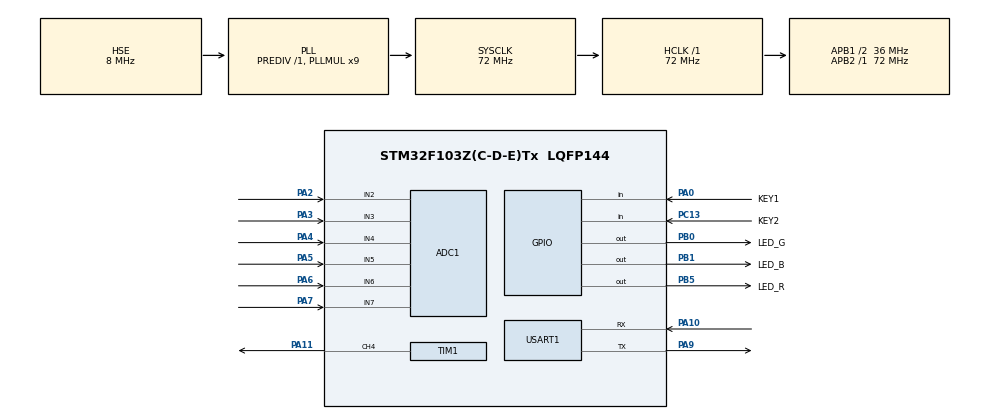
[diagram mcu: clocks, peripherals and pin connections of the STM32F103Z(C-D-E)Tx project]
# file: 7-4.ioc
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ADC1.Channel-0\#ChannelRegularConversion=ADC_CHANNEL_2
ADC1.Channel-1\#ChannelRegularConversion=ADC_CHANNEL_3
ADC1.Channel-2\#ChannelRegularConversion=ADC_CHANNEL_4
ADC1.Channel-3\#ChannelRegularConversion=ADC_CHANNEL_5
ADC1.Channel-4\#ChannelRegularConversion=ADC_CHANNEL_6
ADC1.Channel-5\#ChannelRegularConversion=ADC_CHANNEL_7
ADC1.ContinuousConvMode=ENABLE
ADC1.NbrOfConversion=6
ADC1.NbrOfConversionFlag=1
ADC1.Rank-0\#ChannelRegularConversion=1
ADC1.Rank-1\#ChannelRegularConversion=2
ADC1.Rank-2\#ChannelRegularConversion=3
ADC1.Rank-3\#ChannelRegularConversion=4
ADC1.Rank-4\#ChannelRegularConversion=5
ADC1.Rank-5\#ChannelRegularConversion=6
ADC1.SamplingTime-0\#ChannelRegularConversion=ADC_SAMPLETIME_55CYCLES_5
ADC1.SamplingTime-1\#ChannelRegularConversion=ADC_SAMPLETIME_55CYCLES_5
ADC1.SamplingTime-2\#ChannelRegularConversion=ADC_SAMPLETIME_55CYCLES_5
ADC1.SamplingTime-3\#ChannelRegularConversion=ADC_SAMPLETIME_55CYCLES_5
ADC1.SamplingTime-4\#ChannelRegularConversion=ADC_SAMPLETIME_55CYCLES_5
ADC1.SamplingTime-5\#ChannelRegularConversion=ADC_SAMPLETIME_55CYCLES_5
ADC1.master=1
Dma.ADC1.0.Direction=DMA_PERIPH_TO_MEMORY
Dma.ADC1.0.Instance=DMA1_Channel1
Dma.ADC1.0.MemDataAlignment=DMA_MDATAALIGN_WORD
Dma.ADC1.0.MemInc=DMA_MINC_ENABLE
Dma.ADC1.0.Mode=DMA_CIRCULAR
Dma.ADC1.0.PeriphDataAlignment=DMA_PDATAALIGN_WORD
Dma.ADC1.0.PeriphInc=DMA_PINC_DISABLE
Dma.ADC1.0.Priority=DMA_PRIORITY_LOW
Dma.Request0=ADC1
Mcu.Family=STM32F1
Mcu.Name=STM32F103Z(C-D-E)Tx
Mcu.Package=LQFP144
NVIC.ADC1_2_IRQn=true\:7\:0\:true\:false\:true\:true\:true\:true
NVIC.DMA1_Channel1_IRQn=true\:0\:0\:false\:false\:true\:false\:true\:true
NVIC.PriorityGroup=NVIC_PRIORITYGROUP_4
NVIC.TIM1_UP_IRQn=true\:8\:0\:true\:false\:true\:true\:true\:true
NVIC.TIM3_IRQn=true\:9\:0\:true\:false\:true\:true\:true\:true
NVIC.TIM4_IRQn=true\:11\:0\:true\:false\:true\:true\:true\:true
NVIC.USART1_IRQn=true\:10\:0\:true\:false\:true\:true\:true\:true
OSC_IN.Mode=HSE-External-Oscillator
OSC_IN.Signal=RCC_OSC_IN
OSC_OUT.Mode=HSE-External-Oscillator
OSC_OUT.Signal=RCC_OSC_OUT
PA0-WKUP.GPIO_Label=KEY1
PA0-WKUP.GPIO_PuPd=GPIO_PULLDOWN
PA0-WKUP.Signal=GPIO_Input
PA10.Mode=Asynchronous
PA10.Signal=USART1_RX
PA11.Signal=S_TIM1_CH4
PA13.Mode=Serial_Wire
PA13.Signal=SYS_JTMS-SWDIO
PA14.Mode=Serial_Wire
PA14.Signal=SYS_JTCK-SWCLK
PA2.Signal=ADCx_IN2
PA3.Signal=ADCx_IN3
PA4.Signal=ADCx_IN4
PA5.Signal=ADCx_IN5
PA6.Signal=ADCx_IN6
PA7.Signal=ADCx_IN7
PA9.Mode=Asynchronous
PA9.Signal=USART1_TX
PB0.GPIO_Label=LED_G
PB0.Signal=GPIO_Output
PB1.GPIO_Label=LED_B
PB1.Signal=GPIO_Output
PB5.GPIO_Label=LED_R
PB5.Signal=GPIO_Output
PC13-TAMPER-RTC.GPIO_Label=KEY2
PC13-TAMPER-RTC.GPIO_PuPd=GPIO_PULLDOWN
PC13-TAMPER-RTC.Signal=GPIO_Input
PC14-OSC32_IN.Mode=LSE-External-Oscillator
PC14-OSC32_IN.Signal=RCC_OSC32_IN
PC15-OSC32_OUT.Mode=LSE-External-Oscillator
PC15-OSC32_OUT.Signal=RCC_OSC32_OUT
ProjectManager.HeapSize=0x200
ProjectManager.StackSize=0x400
ProjectManager.TargetToolchain=MDK-ARM V5.32
RCC.ADCPresc=RCC_ADCPCLK2_DIV6
RCC.AHBFreq_Value=72000000
RCC.APB1CLKDivider=RCC_HCLK_DIV2
RCC.APB1Freq_Value=36000000
RCC.APB1TimFreq_Value=72000000
RCC.APB2Freq_Value=72000000
RCC.APB2TimFreq_Value=72000000
RCC.HCLKFreq_Value=72000000
RCC.PLLMUL=RCC_PLL_MUL9
RCC.PLLSourceVirtual=RCC_PLLSOURCE_HSE
RCC.SYSCLKFreq_VALUE=72000000
RCC.SYSCLKSource=RCC_SYSCLKSOURCE_PLLCLK
RCC.USBFreq_Value=72000000
SH.ADCx_IN2.0=ADC1_IN2,IN2
SH.ADCx_IN3.0=ADC1_IN3,IN3
SH.ADCx_IN4.0=ADC1_IN4,IN4
SH.ADCx_IN5.0=ADC1_IN5,IN5
SH.ADCx_IN6.0=ADC1_IN6,IN6
SH.ADCx_IN7.0=ADC1_IN7,IN7
SH.S_TIM1_CH4.0=TIM1_CH4,PWM Generation4 CH4
TIM1.AutoReloadPreload=TIM_AUTORELOAD_PRELOAD_ENABLE
TIM1.Channel-PWM\ Generation4\ CH4=TIM_CHANNEL_4
TIM1.Prescaler=5
TIM3.Period=99
TIM3.Prescaler=7199
TIM4.Prescaler=7199
USART1.VirtualMode=VM_ASYNC
VP_TIM1_VS_ClockSourceINT.Mode=Internal
VP_TIM3_VS_ClockSourceINT.Mode=Internal
VP_TIM4_VS_ClockSourceINT.Mode=Internal
board=custom

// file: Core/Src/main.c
/* USER CODE BEGIN Header */
/**
  ******************************************************************************
  * @file           : main.c
  * @brief          : Main program body
  ******************************************************************************
  * @attention
  *
  * Copyright (c) 2026 STMicroelectronics.
  * All rights reserved.
  *
  * This software is licensed under terms that can be found in the LICENSE file
  * in the root directory of this software component.
  * If no LICENSE file comes with this software, it is provided AS-IS.
  *
  ******************************************************************************
  */
/* USER CODE END Header */
#include "main.h"

ADC_HandleTypeDef hadc1;
DMA_HandleTypeDef hdma_adc1;

TIM_HandleTypeDef htim1;
TIM_HandleTypeDef htim3;
TIM_HandleTypeDef htim4;

UART_HandleTypeDef huart1;

void SystemClock_Config(void);
static void MX_GPIO_Init(void);
static void MX_DMA_Init(void);
static void MX_TIM1_Init(void);
static void MX_TIM3_Init(void);
static void MX_TIM4_Init(void);
static void MX_ADC1_Init(void);
static void MX_USART1_UART_Init(void);

int main(void)
{

  /* MCU Configuration--------------------------------------------------------*/

  /* Reset of all peripherals, Initializes the Flash interface and the Systick. */
  HAL_Init();

  /* Configure the system clock */
  SystemClock_Config();

  /* Initialize all configured peripherals */
  MX_GPIO_Init();
  MX_DMA_Init();
  MX_TIM1_Init();
  MX_TIM3_Init();
  MX_TIM4_Init();
  MX_ADC1_Init();
  MX_USART1_UART_Init();
  /* USER CODE BEGIN 2 */
  HAL_ADCEx_Calibration_Start(&hadc1); // 启动 ADC 校准

  /* USER CODE END 2 */

  /* Infinite loop */
  /* USER CODE BEGIN WHILE */
  while (1)
  {
    Key_Scan(); // 扫描按键状态
    if (Key1Flag == 1) // 如果按键1被按下
    {
      Key1Flag = 0; // 清除按键1的标志位
      HAL_ADC_Start_DMA(&hadc1, (uint32_t *)AD_Buf, ADC_DMA_BUF_LEN); // 启动 ADC1 的 DMA 传输，将转换结果存储到 AD_Buf 中，长度为 ADC_DMA_BUF_LEN
    }

    if (DMA_Flag == 1) // 如果 DMA 传输完成
    {
      DMA_Flag = 0; // 清除 DMA 传输完成标志
      unsigned short lux = 0; // 光照强度值，单位为勒克斯
      for (int i = 0; i < ADC_CHANNEL_CNT; i++)
      {
        printf("ADC1 Channel %d Value: %d\r\n", i + 2, ADC1_AVG_Buf[i]); // 打印 ADC1 各通道的平均值，通道编号从 2 开始
      }
      uint32_t PhotoResister = (uint32_t)(10240000 / (1.1 * ADC1_AVG_Buf[4]) - 2500); // 计算光敏电阻的阻值，假设使用 10kΩ 的电阻分压，电源电压为 3.3V，ADC 分辨率为 12 位
      printf("Photoresistor ADC Value: %d\r\n", ADC1_AVG_Buf[4]); // 打印光敏电阻对应的 ADC 值，假设光敏电阻连接在 ADC1 的第 5 个通道（即 ADC_CHANNEL_6）
      printf("Photoresistor Resistance: %d Ohms\r\n", PhotoResister); // 打印光敏电阻的阻值，单位为欧姆
      lux = GetLux(PhotoResister); // 根据光敏电阻值计算光照强度
      printf("The light intensity is: %d Lux\r\n", lux); // 打印光照强度值，单位为勒克斯
      printf("The DMA count is: %d\r\n", DMA_CNT); // 打印 DMA 传输完成的次数
    }
    /* USER CODE END WHILE */

  }
}

void SystemClock_Config(void)
{
  RCC_OscInitTypeDef RCC_OscInitStruct = {0};
  RCC_ClkInitTypeDef RCC_ClkInitStruct = {0};
  RCC_PeriphCLKInitTypeDef PeriphClkInit = {0};

  /** Initializes the RCC Oscillators according to the specified parameters
  * in the RCC_OscInitTypeDef structure.
  */
  RCC_OscInitStruct.OscillatorType = RCC_OSCILLATORTYPE_HSE;
  RCC_OscInitStruct.HSEState = RCC_HSE_ON;
  RCC_OscInitStruct.HSEPredivValue = RCC_HSE_PREDIV_DIV1;
  RCC_OscInitStruct.HSIState = RCC_HSI_ON;
  RCC_OscInitStruct.PLL.PLLState = RCC_PLL_ON;
  RCC_OscInitStruct.PLL.PLLSource = RCC_PLLSOURCE_HSE;
  RCC_OscInitStruct.PLL.PLLMUL = RCC_PLL_MUL9;
  if (HAL_RCC_OscConfig(&RCC_OscInitStruct) != HAL_OK)
  {
    Error_Handler();
  }

  /** Initializes the CPU, AHB and APB buses clocks
  */
  RCC_ClkInitStruct.ClockType = RCC_CLOCKTYPE_HCLK|RCC_CLOCKTYPE_SYSCLK
                              |RCC_CLOCKTYPE_PCLK1|RCC_CLOCKTYPE_PCLK2;
  RCC_ClkInitStruct.SYSCLKSource = RCC_SYSCLKSOURCE_PLLCLK;
  RCC_ClkInitStruct.AHBCLKDivider = RCC_SYSCLK_DIV1;
  RCC_ClkInitStruct.APB1CLKDivider = RCC_HCLK_DIV2;
  RCC_ClkInitStruct.APB2CLKDivider = RCC_HCLK_DIV1;

  if (HAL_RCC_ClockConfig(&RCC_ClkInitStruct, FLASH_LATENCY_2) != HAL_OK)
  {
    Error_Handler();
  }
  PeriphClkInit.PeriphClockSelection = RCC_PERIPHCLK_ADC;
  PeriphClkInit.AdcClockSelection = RCC_ADCPCLK2_DIV6;
  if (HAL_RCCEx_PeriphCLKConfig(&PeriphClkInit) != HAL_OK)
  {
    Error_Handler();
  }
}

static void MX_ADC1_Init(void)
{

  ADC_ChannelConfTypeDef sConfig = {0};

  /** Common config
  */
  hadc1.Instance = ADC1;
  hadc1.Init.ScanConvMode = ADC_SCAN_ENABLE;
  hadc1.Init.ContinuousConvMode = ENABLE;
  hadc1.Init.DiscontinuousConvMode = DISABLE;
  hadc1.Init.ExternalTrigConv = ADC_SOFTWARE_START;
  hadc1.Init.DataAlign = ADC_DATAALIGN_RIGHT;
  hadc1.Init.NbrOfConversion = 6;
  if (HAL_ADC_Init(&hadc1) != HAL_OK)
  {
    Error_Handler();
  }

  /** Configure Regular Channel
  */
  sConfig.Channel = ADC_CHANNEL_2;
  sConfig.Rank = ADC_REGULAR_RANK_1;
  sConfig.SamplingTime = ADC_SAMPLETIME_55CYCLES_5;
  if (HAL_ADC_ConfigChannel(&hadc1, &sConfig) != HAL_OK)
  {
    Error_Handler();
  }

  /** Configure Regular Channel
  */
  sConfig.Channel = ADC_CHANNEL_3;
  sConfig.Rank = ADC_REGULAR_RANK_2;
  if (HAL_ADC_ConfigChannel(&hadc1, &sConfig) != HAL_OK)
  {
    Error_Handler();
  }

  /** Configure Regular Channel
  */
  sConfig.Channel = ADC_CHANNEL_4;
  sConfig.Rank = ADC_REGULAR_RANK_3;
  if (HAL_ADC_ConfigChannel(&hadc1, &sConfig) != HAL_OK)
  {
    Error_Handler();
  }

  /** Configure Regular Channel
  */
  sConfig.Channel = ADC_CHANNEL_5;
  sConfig.Rank = ADC_REGULAR_RANK_4;
  if (HAL_ADC_ConfigChannel(&hadc1, &sConfig) != HAL_OK)
  {
    Error_Handler();
  }

  /** Configure Regular Channel
  */
  sConfig.Channel = ADC_CHANNEL_6;
  sConfig.Rank = ADC_REGULAR_RANK_5;
  if (HAL_ADC_ConfigChannel(&hadc1, &sConfig) != HAL_OK)
  {
    Error_Handler();
  }

  /** Configure Regular Channel
  */
  sConfig.Channel = ADC_CHANNEL_7;
  sConfig.Rank = ADC_REGULAR_RANK_6;
  if (HAL_ADC_ConfigChannel(&hadc1, &sConfig) != HAL_OK)
  {
    Error_Handler();
  }

}

static void MX_TIM1_Init(void)
{

  TIM_ClockConfigTypeDef sClockSourceConfig = {0};
  TIM_MasterConfigTypeDef sMasterConfig = {0};
  TIM_OC_InitTypeDef sConfigOC = {0};
  TIM_BreakDeadTimeConfigTypeDef sBreakDeadTimeConfig = {0};

  htim1.Instance = TIM1;
  htim1.Init.Prescaler = 5;
  htim1.Init.CounterMode = TIM_COUNTERMODE_UP;
  htim1.Init.Period = 65535;
  htim1.Init.ClockDivision = TIM_CLOCKDIVISION_DIV1;
  htim1.Init.RepetitionCounter = 0;
  htim1.Init.AutoReloadPreload = TIM_AUTORELOAD_PRELOAD_ENABLE;
  if (HAL_TIM_Base_Init(&htim1) != HAL_OK)
  {
    Error_Handler();
  }
  sClockSourceConfig.ClockSource = TIM_CLOCKSOURCE_INTERNAL;
  if (HAL_TIM_ConfigClockSource(&htim1, &sClockSourceConfig) != HAL_OK)
  {
    Error_Handler();
  }
  if (HAL_TIM_PWM_Init(&htim1) != HAL_OK)
  {
    Error_Handler();
  }
  sMasterConfig.MasterOutputTrigger = TIM_TRGO_RESET;
  sMasterConfig.MasterSlaveMode = TIM_MASTERSLAVEMODE_DISABLE;
  if (HAL_TIMEx_MasterConfigSynchronization(&htim1, &sMasterConfig) != HAL_OK)
  {
    Error_Handler();
  }
  sConfigOC.OCMode = TIM_OCMODE_PWM1;
  sConfigOC.Pulse = 0;
  sConfigOC.OCPolarity = TIM_OCPOLARITY_HIGH;
  sConfigOC.OCFastMode = TIM_OCFAST_DISABLE;
  sConfigOC.OCIdleState = TIM_OCIDLESTATE_RESET;
  sConfigOC.OCNIdleState = TIM_OCNIDLESTATE_RESET;
  if (HAL_TIM_PWM_ConfigChannel(&htim1, &sConfigOC, TIM_CHANNEL_4) != HAL_OK)
  {
    Error_Handler();
  }
  sBreakDeadTimeConfig.OffStateRunMode = TIM_OSSR_DISABLE;
  sBreakDeadTimeConfig.OffStateIDLEMode = TIM_OSSI_DISABLE;
  sBreakDeadTimeConfig.LockLevel = TIM_LOCKLEVEL_OFF;
  sBreakDeadTimeConfig.DeadTime = 0;
  sBreakDeadTimeConfig.BreakState = TIM_BREAK_DISABLE;
  sBreakDeadTimeConfig.BreakPolarity = TIM_BREAKPOLARITY_HIGH;
  sBreakDeadTimeConfig.AutomaticOutput = TIM_AUTOMATICOUTPUT_DISABLE;
  if (HAL_TIMEx_ConfigBreakDeadTime(&htim1, &sBreakDeadTimeConfig) != HAL_OK)
  {
    Error_Handler();
  }
  HAL_TIM_MspPostInit(&htim1);

}

static void MX_TIM3_Init(void)
{

  TIM_ClockConfigTypeDef sClockSourceConfig = {0};
  TIM_MasterConfigTypeDef sMasterConfig = {0};

  htim3.Instance = TIM3;
  htim3.Init.Prescaler = 7199;
  htim3.Init.CounterMode = TIM_COUNTERMODE_UP;
  htim3.Init.Period = 99;
  htim3.Init.ClockDivision = TIM_CLOCKDIVISION_DIV1;
  htim3.Init.AutoReloadPreload = TIM_AUTORELOAD_PRELOAD_DISABLE;
  if (HAL_TIM_Base_Init(&htim3) != HAL_OK)
  {
    Error_Handler();
  }
  sClockSourceConfig.ClockSource = TIM_CLOCKSOURCE_INTERNAL;
  if (HAL_TIM_ConfigClockSource(&htim3, &sClockSourceConfig) != HAL_OK)
  {
    Error_Handler();
  }
  sMasterConfig.MasterOutputTrigger = TIM_TRGO_RESET;
  sMasterConfig.MasterSlaveMode = TIM_MASTERSLAVEMODE_DISABLE;
  if (HAL_TIMEx_MasterConfigSynchronization(&htim3, &sMasterConfig) != HAL_OK)
  {
    Error_Handler();
  }

}

static void MX_TIM4_Init(void)
{

  TIM_ClockConfigTypeDef sClockSourceConfig = {0};
  TIM_MasterConfigTypeDef sMasterConfig = {0};

  htim4.Instance = TIM4;
  htim4.Init.Prescaler = 7199;
  htim4.Init.CounterMode = TIM_COUNTERMODE_UP;
  htim4.Init.Period = 65535;
  htim4.Init.ClockDivision = TIM_CLOCKDIVISION_DIV1;
  htim4.Init.AutoReloadPreload = TIM_AUTORELOAD_PRELOAD_DISABLE;
  if (HAL_TIM_Base_Init(&htim4) != HAL_OK)
  {
    Error_Handler();
  }
  sClockSourceConfig.ClockSource = TIM_CLOCKSOURCE_INTERNAL;
  if (HAL_TIM_ConfigClockSource(&htim4, &sClockSourceConfig) != HAL_OK)
  {
    Error_Handler();
  }
  sMasterConfig.MasterOutputTrigger = TIM_TRGO_RESET;
  sMasterConfig.MasterSlaveMode = TIM_MASTERSLAVEMODE_DISABLE;
  if (HAL_TIMEx_MasterConfigSynchronization(&htim4, &sMasterConfig) != HAL_OK)
  {
    Error_Handler();
  }

}

static void MX_USART1_UART_Init(void)
{

  huart1.Instance = USART1;
  huart1.Init.BaudRate = 115200;
  huart1.Init.WordLength = UART_WORDLENGTH_8B;
  huart1.Init.StopBits = UART_STOPBITS_1;
  huart1.Init.Parity = UART_PARITY_NONE;
  huart1.Init.Mode = UART_MODE_TX_RX;
  huart1.Init.HwFlowCtl = UART_HWCONTROL_NONE;
  huart1.Init.OverSampling = UART_OVERSAMPLING_16;
  if (HAL_UART_Init(&huart1) != HAL_OK)
  {
    Error_Handler();
  }

}

static void MX_DMA_Init(void)
{

  /* DMA controller clock enable */
  __HAL_RCC_DMA1_CLK_ENABLE();

  /* DMA interrupt init */
  /* DMA1_Channel1_IRQn interrupt configuration */
  HAL_NVIC_SetPriority(DMA1_Channel1_IRQn, 0, 0);
  HAL_NVIC_EnableIRQ(DMA1_Channel1_IRQn);

}

static void MX_GPIO_Init(void)
{
  GPIO_InitTypeDef GPIO_InitStruct = {0};

  /* GPIO Ports Clock Enable */
  __HAL_RCC_GPIOC_CLK_ENABLE();
  __HAL_RCC_GPIOA_CLK_ENABLE();
  __HAL_RCC_GPIOB_CLK_ENABLE();

  /*Configure GPIO pin Output Level */
  HAL_GPIO_WritePin(GPIOB, LED_G_Pin|LED_B_Pin|LED_R_Pin, GPIO_PIN_RESET);

  /*Configure GPIO pin : KEY2_Pin */
  GPIO_InitStruct.Pin = KEY2_Pin;
  GPIO_InitStruct.Mode = GPIO_MODE_INPUT;
  GPIO_InitStruct.Pull = GPIO_PULLDOWN;
  HAL_GPIO_Init(KEY2_GPIO_Port, &GPIO_InitStruct);

  /*Configure GPIO pin : KEY1_Pin */
  GPIO_InitStruct.Pin = KEY1_Pin;
  GPIO_InitStruct.Mode = GPIO_MODE_INPUT;
  GPIO_InitStruct.Pull = GPIO_PULLDOWN;
  HAL_GPIO_Init(KEY1_GPIO_Port, &GPIO_InitStruct);

  /*Configure GPIO pins : LED_G_Pin LED_B_Pin LED_R_Pin */
  GPIO_InitStruct.Pin = LED_G_Pin|LED_B_Pin|LED_R_Pin;
  GPIO_InitStruct.Mode = GPIO_MODE_OUTPUT_PP;
  GPIO_InitStruct.Pull = GPIO_NOPULL;
  GPIO_InitStruct.Speed = GPIO_SPEED_FREQ_LOW;
  HAL_GPIO_Init(GPIOB, &GPIO_InitStruct);

}

void Error_Handler(void)
{
  __disable_irq();
  while (1)
  {
  }
}
